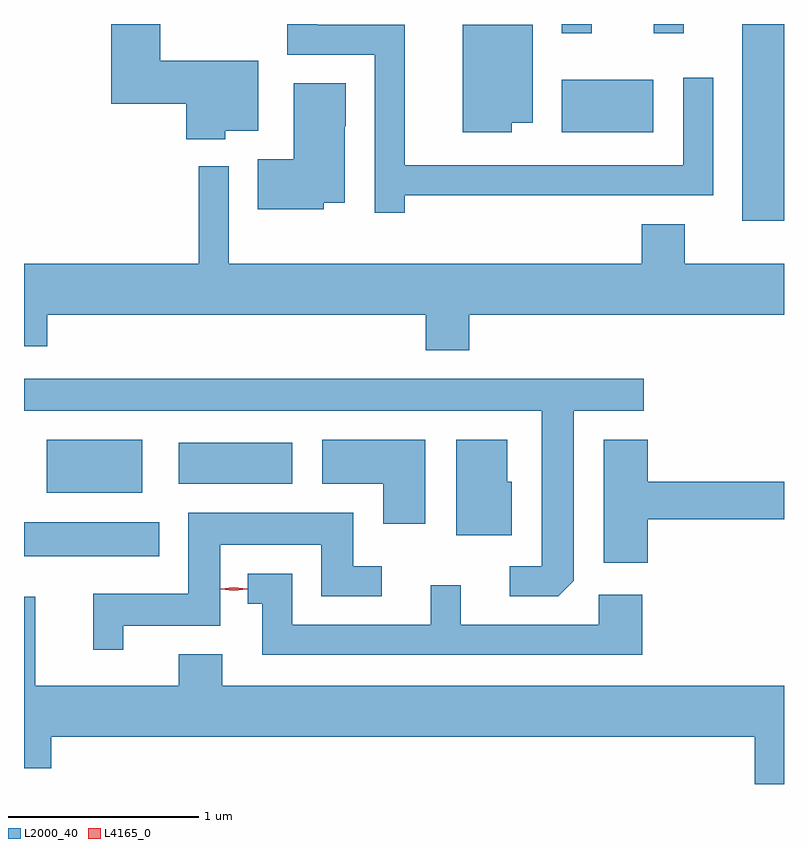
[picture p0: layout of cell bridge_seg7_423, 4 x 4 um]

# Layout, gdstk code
import gdstk
lib = gdstk.Library(unit=1e-6, precision=1e-09)
def R(c, l, rs):  # rectangles x0, y0, x1, y1
    for r in rs: c.add(gdstk.rectangle(r[:2], r[2:], *l))
def P(c, l, *ps):  # polygons
    for p in ps: c.add(gdstk.Polygon(p, *l))
L2000_40 = (2000, 40)
L4165_0 = (4165, 0)

bridge_seg7_423 = lib.new_cell('bridge_seg7_423')
R(bridge_seg7_423, L2000_40, [(1169.036,1710.826,1169.749,1711.004), (1169.156,1711.161,1169.659,1711.439), (1169.851,1711.206,1170.449,1711.424), (1172.816,1712.591,1173.036,1713.627), (1171.866,1713.056,1172.349,1713.334), (1171.866,1713.578,1172.024,1713.627), (1172.351,1713.578,1172.509,1713.627)])
P(bridge_seg7_423, L2000_40, [(1170.094,1713.066),(1170.269,1713.066),(1170.269,1713.434),(1169.754,1713.434),(1169.754,1713.627),(1169.496,1713.627),(1169.496,1713.206),(1169.891,1713.206),(1169.891,1713.021),(1170.094,1713.021)],
  [(1171.039,1712.726),(1172.664,1712.726),(1172.664,1713.343),(1172.506,1713.343),(1172.506,1712.884),(1171.039,1712.884),(1171.039,1713.624),(1170.579,1713.624),(1170.579,1713.627),(1170.421,1713.627),(1170.421,1713.466),(1170.881,1713.466),(1170.881,1712.633),(1171.039,1712.633)],
  [(1171.604,1713.106),(1171.714,1713.106),(1171.714,1713.624),(1171.346,1713.624),(1171.346,1713.056),(1171.604,1713.056)],
  [(1170.614,1712.686),(1170.724,1712.686),(1170.724,1713.09),(1170.729,1713.09),(1170.729,1713.314),(1170.456,1713.314),(1170.456,1712.914),(1170.266,1712.914),(1170.266,1712.651),(1170.614,1712.651)],
  [(1171.379,1712.096),(1173.036,1712.096),(1173.036,1712.364),(1172.514,1712.364),(1172.514,1712.574),(1172.286,1712.574),(1172.286,1712.364),(1170.114,1712.364),(1170.114,1712.878),(1169.956,1712.878),(1169.956,1712.364),(1169.036,1712.364),(1169.036,1711.931),(1169.159,1711.931),(1169.159,1712.096),(1171.151,1712.096),(1171.151,1711.911),(1171.379,1711.911)],
  [(1171.929,1710.697),(1171.929,1711.591),(1172.298,1711.591),(1172.298,1711.759),(1169.036,1711.759),(1169.036,1711.591),(1171.761,1711.591),(1171.761,1710.774),(1171.593,1710.774),(1171.593,1710.616),(1171.849,1710.616)],
  [(1171.604,1711.219),(1171.579,1711.219),(1171.579,1711.439),(1171.311,1711.439),(1171.311,1710.936),(1171.604,1710.936)],
  [(1171.149,1711.439),(1170.606,1711.439),(1170.606,1711.206),(1170.926,1711.206),(1170.926,1710.996),(1171.149,1710.996)],
  [(1172.319,1711.021),(1173.036,1711.021),(1173.036,1711.219),(1172.319,1711.219),(1172.319,1711.439),(1172.086,1711.439),(1172.086,1710.791),(1172.319,1710.791)],
  [(1169.559,1710.461),(1170.069,1710.461),(1170.069,1710.886),(1170.601,1710.886),(1170.601,1710.616),(1170.918,1710.616),(1170.918,1710.774),(1170.769,1710.774),(1170.769,1711.054),(1169.901,1711.054),(1169.901,1710.629),(1169.401,1710.629),(1169.401,1710.333),(1169.559,1710.333)],
  [(1172.289,1710.624),(1172.061,1710.624),(1172.061,1710.464),(1171.334,1710.464),(1171.334,1710.673),(1171.176,1710.673),(1171.176,1710.464),(1170.449,1710.464),(1170.449,1710.734),(1170.213,1710.734),(1170.213,1710.576),(1170.291,1710.576),(1170.291,1710.306),(1172.289,1710.306)],
  [(1173.036,1710.144),(1170.079,1710.144),(1170.079,1710.309),(1169.851,1710.309),(1169.851,1710.144),(1169.094,1710.144),(1169.094,1710.613),(1169.036,1710.613),(1169.036,1709.711),(1169.179,1709.711),(1169.179,1709.876),(1172.881,1709.876),(1172.881,1709.627),(1173.036,1709.627)])
P(bridge_seg7_423, L4165_0, [(1170.141,1710.643),(1170.072,1710.653),(1170.072,1710.653),(1170.072,1710.654),(1170.141,1710.663),(1170.211,1710.654),(1170.211,1710.653),(1170.211,1710.653)])

lib.write_gds('bridge_seg7_423.gds')
